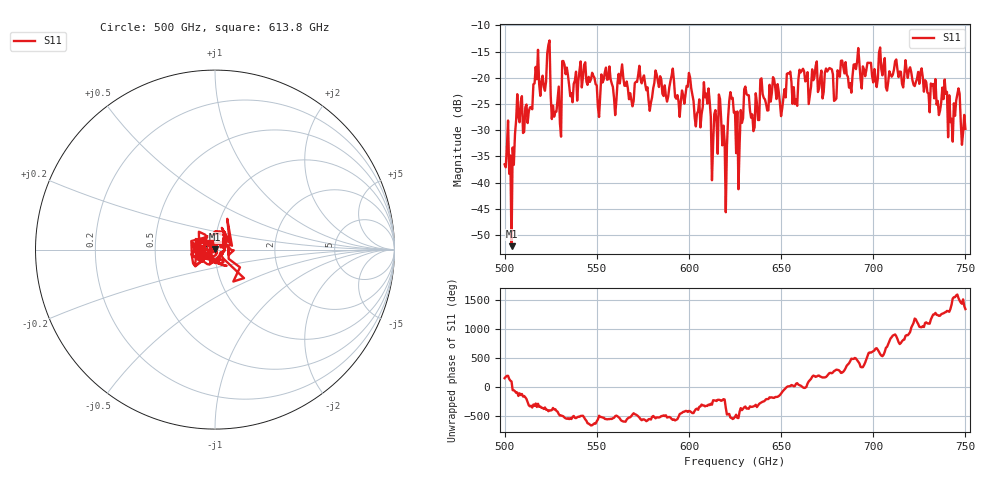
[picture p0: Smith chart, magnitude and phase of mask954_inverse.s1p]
!Created with skrf (http://scikit-rf.org).
# GHz S MA R 50.0
!freq magS11 angS11
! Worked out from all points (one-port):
!   401 points, 500 GHz to 750 GHz, reference 50 ohm
!   lowest |S11| = -52.1 dB at 503.8 GHz (marker M1), VSWR 1.00, Z = 50 + j0.248 ohm
!   |S11| at or under -10 dB: start of sweep to end of sweep
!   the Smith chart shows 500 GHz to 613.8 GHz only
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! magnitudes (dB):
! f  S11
! 500 GHz  -36.5
! 503.8 GHz  -52.1
! 507.5 GHz  -27.4
! 513.8 GHz  -25.6
! 516.9 GHz  -17.9
! 523.8 GHz  -13.8
! 526.9 GHz  -27.4
! 531.2 GHz  -16.8
! 532.5 GHz  -17.5
! 550.6 GHz  -25.6
! 562.5 GHz  -21.1
! 568.8 GHz  -24.2
! 590.6 GHz  -19.6
! 593.8 GHz  -23.3
! 609.4 GHz  -23.0
! 613.1 GHz  -32.6
! 617.5 GHz  -27.9
! 619.4 GHz  -32.1
! 622.5 GHz  -22.7
! 625 GHz  -26.5
! 626.9 GHz  -41.2
! 631.2 GHz  -23.1
! 634.4 GHz  -27.0
! 640 GHz  -23.1
! 656.2 GHz  -25.0
! 687.5 GHz  -21.0
! 718.8 GHz  -20.0
! 750 GHz  -29.7
